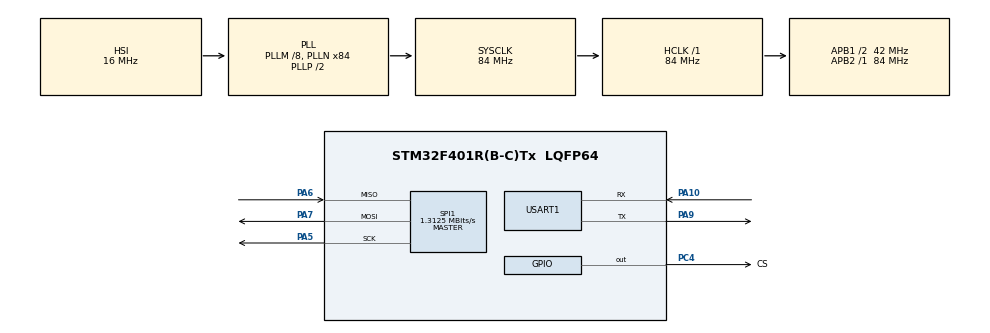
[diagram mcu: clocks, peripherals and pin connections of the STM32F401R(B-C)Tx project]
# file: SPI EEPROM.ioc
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Mcu.Family=STM32F4
Mcu.Name=STM32F401R(B-C)Tx
Mcu.Package=LQFP64
NVIC.PriorityGroup=NVIC_PRIORITYGROUP_4
PA10.Mode=Asynchronous
PA10.Signal=USART1_RX
PA13.Mode=Serial_Wire
PA13.Signal=SYS_JTMS-SWDIO
PA14.Mode=Serial_Wire
PA14.Signal=SYS_JTCK-SWCLK
PA5.Mode=Full_Duplex_Master
PA5.Signal=SPI1_SCK
PA6.Mode=Full_Duplex_Master
PA6.Signal=SPI1_MISO
PA7.Mode=Full_Duplex_Master
PA7.Signal=SPI1_MOSI
PA9.Mode=Asynchronous
PA9.Signal=USART1_TX
PC4.GPIO_Label=CS
PC4.Signal=GPIO_Output
PH0\ -\ OSC_IN.Mode=HSE-External-Oscillator
PH0\ -\ OSC_IN.Signal=RCC_OSC_IN
PH1\ -\ OSC_OUT.Mode=HSE-External-Oscillator
PH1\ -\ OSC_OUT.Signal=RCC_OSC_OUT
ProjectManager.HeapSize=0x200
ProjectManager.StackSize=0x400
ProjectManager.TargetToolchain=STM32CubeIDE
RCC.48MHZClocksFreq_Value=42000000
RCC.AHBFreq_Value=84000000
RCC.APB1CLKDivider=RCC_HCLK_DIV2
RCC.APB1Freq_Value=42000000
RCC.APB1TimFreq_Value=84000000
RCC.APB2Freq_Value=84000000
RCC.APB2TimFreq_Value=84000000
RCC.CortexFreq_Value=84000000
RCC.HCLKFreq_Value=84000000
RCC.HSE_VALUE=25000000
RCC.HSI_VALUE=16000000
RCC.LSE_VALUE=32768
RCC.PLLM=8
RCC.PLLN=84
RCC.SYSCLKFreq_VALUE=84000000
RCC.SYSCLKSource=RCC_SYSCLKSOURCE_PLLCLK
RCC.VCOOutputFreq_Value=168000000
SPI1.BaudRatePrescaler=SPI_BAUDRATEPRESCALER_64
SPI1.CalculateBaudRate=1.3125 MBits/s
SPI1.Direction=SPI_DIRECTION_2LINES
SPI1.Mode=SPI_MODE_MASTER
SPI1.VirtualType=VM_MASTER
USART1.VirtualMode=VM_ASYNC
board=custom

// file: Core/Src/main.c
/* USER CODE BEGIN Header */
/**
  ******************************************************************************
  * @file           : main.c
  * @brief          : Main program body
  ******************************************************************************
  * @attention
  *
  * Copyright (c) 2023 STMicroelectronics.
  * All rights reserved.
  *
  * This software is licensed under terms that can be found in the LICENSE file
  * in the root directory of this software component.
  * If no LICENSE file comes with this software, it is provided AS-IS.
  *
  ******************************************************************************
  */
/* USER CODE END Header */
#include "main.h"

/* USER CODE BEGIN Includes */
#include "stdio.h"
#include "string.h"
/* USER CODE END Includes */

SPI_HandleTypeDef hspi1;

UART_HandleTypeDef huart1;

void SystemClock_Config(void);
static void MX_GPIO_Init(void);
static void MX_SPI1_Init(void);
static void MX_USART1_UART_Init(void);
/* USER CODE BEGIN PFP */

const uint8_t EEPROM_WEL = 0b00000110;
const uint8_t EEPROM_STR = 0b00000101;
/* USER CODE END PFP */

int main(void)
{
  /* USER CODE BEGIN 1 */
char buffer[50];
uint8_t buffer_len;
char SPI_Buffer[20];
  /* USER CODE END 1 */

  /* MCU Configuration--------------------------------------------------------*/

  /* Reset of all peripherals, Initializes the Flash interface and the Systick. */
  HAL_Init();

  /* Configure the system clock */
  SystemClock_Config();

  /* Initialize all configured peripherals */
  MX_GPIO_Init();
  MX_SPI1_Init();
  MX_USART1_UART_Init();
  /* USER CODE BEGIN 2 */
  HAL_GPIO_WritePin(CS_GPIO_Port, CS_Pin, SET);
  buffer_len = sprintf(buffer,"SPI Test\r\n");
  HAL_UART_Transmit(&huart1, (uint8_t*)buffer, buffer_len, HAL_MAX_DELAY);
  HAL_Delay(1000);

  HAL_GPIO_WritePin(CS_GPIO_Port, CS_Pin, RESET);
  HAL_SPI_Transmit(&hspi1, (uint8_t*)&EEPROM_WEL, 1, 100);
  HAL_GPIO_WritePin(CS_GPIO_Port, CS_Pin, SET);

  HAL_GPIO_WritePin(CS_GPIO_Port, CS_Pin, RESET);
  HAL_SPI_Transmit(&hspi1, (uint8_t*)&EEPROM_STR, 1, 100);
  HAL_SPI_Receive(&hspi1, (uint8_t*)SPI_Buffer, 1, 100);
  HAL_GPIO_WritePin(CS_GPIO_Port, CS_Pin, SET);

  buffer_len = sprintf(buffer,"SPI STATUS = 0x%02x\r\n",(unsigned int)SPI_Buffer[0]);
  HAL_UART_Transmit(&huart1, (uint8_t*)buffer, buffer_len, HAL_MAX_DELAY);
  HAL_Delay(1000);
  /* USER CODE END 2 */

  /* Infinite loop */
  while (1)
  {

  }
}

void SystemClock_Config(void)
{
  RCC_OscInitTypeDef RCC_OscInitStruct = {0};
  RCC_ClkInitTypeDef RCC_ClkInitStruct = {0};

  /** Configure the main internal regulator output voltage
  */
  __HAL_RCC_PWR_CLK_ENABLE();
  __HAL_PWR_VOLTAGESCALING_CONFIG(PWR_REGULATOR_VOLTAGE_SCALE2);

  /** Initializes the RCC Oscillators according to the specified parameters
  * in the RCC_OscInitTypeDef structure.
  */
  RCC_OscInitStruct.OscillatorType = RCC_OSCILLATORTYPE_HSI;
  RCC_OscInitStruct.HSIState = RCC_HSI_ON;
  RCC_OscInitStruct.HSICalibrationValue = RCC_HSICALIBRATION_DEFAULT;
  RCC_OscInitStruct.PLL.PLLState = RCC_PLL_ON;
  RCC_OscInitStruct.PLL.PLLSource = RCC_PLLSOURCE_HSI;
  RCC_OscInitStruct.PLL.PLLM = 8;
  RCC_OscInitStruct.PLL.PLLN = 84;
  RCC_OscInitStruct.PLL.PLLP = RCC_PLLP_DIV2;
  RCC_OscInitStruct.PLL.PLLQ = 4;
  if (HAL_RCC_OscConfig(&RCC_OscInitStruct) != HAL_OK)
  {
    Error_Handler();
  }

  /** Initializes the CPU, AHB and APB buses clocks
  */
  RCC_ClkInitStruct.ClockType = RCC_CLOCKTYPE_HCLK|RCC_CLOCKTYPE_SYSCLK
                              |RCC_CLOCKTYPE_PCLK1|RCC_CLOCKTYPE_PCLK2;
  RCC_ClkInitStruct.SYSCLKSource = RCC_SYSCLKSOURCE_PLLCLK;
  RCC_ClkInitStruct.AHBCLKDivider = RCC_SYSCLK_DIV1;
  RCC_ClkInitStruct.APB1CLKDivider = RCC_HCLK_DIV2;
  RCC_ClkInitStruct.APB2CLKDivider = RCC_HCLK_DIV1;

  if (HAL_RCC_ClockConfig(&RCC_ClkInitStruct, FLASH_LATENCY_2) != HAL_OK)
  {
    Error_Handler();
  }
}

static void MX_SPI1_Init(void)
{

  /* SPI1 parameter configuration*/
  hspi1.Instance = SPI1;
  hspi1.Init.Mode = SPI_MODE_MASTER;
  hspi1.Init.Direction = SPI_DIRECTION_2LINES;
  hspi1.Init.DataSize = SPI_DATASIZE_8BIT;
  hspi1.Init.CLKPolarity = SPI_POLARITY_LOW;
  hspi1.Init.CLKPhase = SPI_PHASE_1EDGE;
  hspi1.Init.NSS = SPI_NSS_SOFT;
  hspi1.Init.BaudRatePrescaler = SPI_BAUDRATEPRESCALER_64;
  hspi1.Init.FirstBit = SPI_FIRSTBIT_MSB;
  hspi1.Init.TIMode = SPI_TIMODE_DISABLE;
  hspi1.Init.CRCCalculation = SPI_CRCCALCULATION_DISABLE;
  hspi1.Init.CRCPolynomial = 10;
  if (HAL_SPI_Init(&hspi1) != HAL_OK)
  {
    Error_Handler();
  }

}

static void MX_USART1_UART_Init(void)
{

  huart1.Instance = USART1;
  huart1.Init.BaudRate = 115200;
  huart1.Init.WordLength = UART_WORDLENGTH_8B;
  huart1.Init.StopBits = UART_STOPBITS_1;
  huart1.Init.Parity = UART_PARITY_NONE;
  huart1.Init.Mode = UART_MODE_TX_RX;
  huart1.Init.HwFlowCtl = UART_HWCONTROL_NONE;
  huart1.Init.OverSampling = UART_OVERSAMPLING_16;
  if (HAL_UART_Init(&huart1) != HAL_OK)
  {
    Error_Handler();
  }

}

static void MX_GPIO_Init(void)
{
  GPIO_InitTypeDef GPIO_InitStruct = {0};

  /* GPIO Ports Clock Enable */
  __HAL_RCC_GPIOH_CLK_ENABLE();
  __HAL_RCC_GPIOA_CLK_ENABLE();
  __HAL_RCC_GPIOC_CLK_ENABLE();

  /*Configure GPIO pin Output Level */
  HAL_GPIO_WritePin(CS_GPIO_Port, CS_Pin, GPIO_PIN_RESET);

  /*Configure GPIO pin : CS_Pin */
  GPIO_InitStruct.Pin = CS_Pin;
  GPIO_InitStruct.Mode = GPIO_MODE_OUTPUT_PP;
  GPIO_InitStruct.Pull = GPIO_NOPULL;
  GPIO_InitStruct.Speed = GPIO_SPEED_FREQ_LOW;
  HAL_GPIO_Init(CS_GPIO_Port, &GPIO_InitStruct);

}

void Error_Handler(void)
{
  __disable_irq();
  while (1)
  {
  }
}
